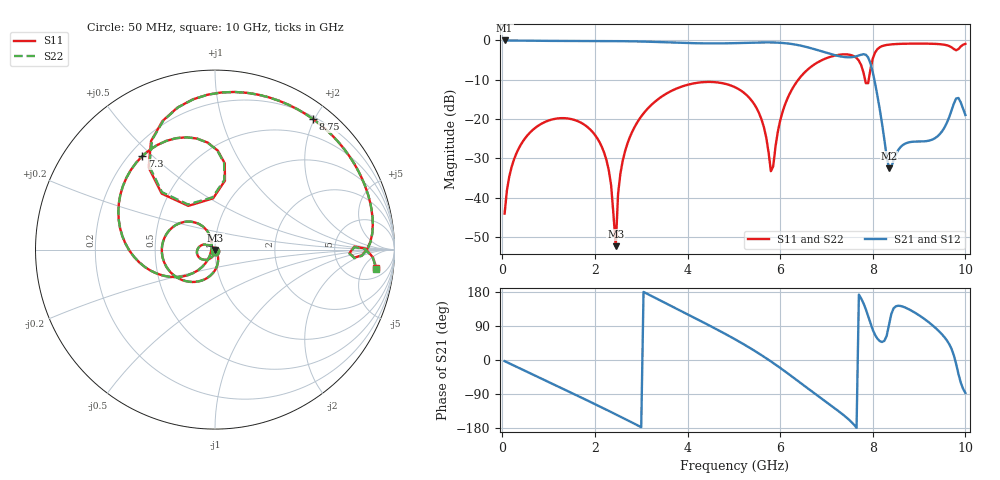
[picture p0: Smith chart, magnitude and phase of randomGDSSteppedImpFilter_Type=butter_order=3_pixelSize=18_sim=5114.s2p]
! freq	dB(S11)	phase(S11)	dB(S12)	phase(S12)
!  dB(S21)	phase(S21)	dB(S22)	phase(S22)
!S-par simulation data
#  GHz  S  DB  R 50
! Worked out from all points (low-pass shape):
!   200 points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, 50 MHz to 10 GHz, reference 50 ohm
!   highest |S21| = -0.01 dB at 50 MHz (marker M1); lowest = -32.5 dB at 8.35 GHz (marker M2)
!   |S21| within 3 dB of the highest: start of sweep to 6.959 GHz
!   lowest |S11| = -52.4 dB at 2.45 GHz (marker M3), VSWR 1.00, Z = 50.2 - j0.171 ohm
!   |S11| at or under -10 dB: start of sweep to 6.392 GHz; 7.834 GHz to 7.912 GHz (78.86 MHz wide, 1 % of centre)
!   |S22| runs from -52.4 to -0.8 dB; largest |S21 - S12| = 0
!   S11 on the Smith chart (normalised r, x): 50 MHz: 1.00, -0.01; 7.3 GHz: 0.25, +0.46; 8.75 GHz: 0.23, +1.97; 10 GHz: 9, -10
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0.05  -44.09 -91.7  -0.01 -3.0  -0.01 -3.0  -44.09 -91.7
0.2  -32.27 -100.9  -0.02 -11.7  -0.02 -11.7  -32.27 -100.9
0.55  -24.07 -122.3  -0.06 -32.0  -0.06 -32.0  -24.07 -122.3
1.75  -21.29 167.4  -0.15 -101.7  -0.15 -101.7  -21.29 167.6
2.25  -30.50 137.2  -0.16 -131.4  -0.16 -131.4  -30.50 138.3
2.45  -52.39 -45.2  -0.17 -143.5  -0.17 -143.5  -52.42 -61.5
2.5  -39.08 -55.5  -0.18 -146.5  -0.18 -146.5  -39.08 -58.8
2.65  -28.25 -65.9  -0.20 -155.7  -0.20 -155.7  -28.25 -66.9
3.4  -14.65 -112.4  -0.42 157.9  -0.42 157.9  -14.64 -112.7
4.25  -10.72 -164.7  -0.73 105.0  -0.73 105.0  -10.72 -164.9
5.05  -12.06 144.7  -0.68 53.0  -0.68 53.0  -12.06 144.5
5.55  -18.67 113.3  -0.52 16.5  -0.52 16.5  -18.68 113.0
5.8  -33.31 150.0  -0.51 -3.7  -0.51 -3.7  -33.48 149.3
6.1  -16.50 -129.6  -0.69 -29.6  -0.69 -29.6  -16.50 -129.5
6.7  -6.42 -179.4  -2.09 -84.3  -2.09 -84.3  -6.42 -179.4
7.3  -3.61 127.8  -4.07 -138.7  -4.07 -138.7  -3.61 127.9
7.75  -6.31 83.6  -3.63 162.3  -3.63 162.3  -6.27 84.0
7.9  -10.89 121.4  -4.32 115.6  -4.32 115.6  -10.68 120.8
8.05  -3.07 120.5  -10.92 66.2  -10.92 66.2  -3.05 119.9
8.35  -1.06 83.0  -32.52 92.2  -32.52 92.2  -1.06 82.7
8.75  -0.82 53.3  -26.04 135.6  -26.04 135.6  -0.82 53.0
10  -0.87 -6.4  -18.99 -86.9  -18.99 -86.9  -0.87 -6.7
